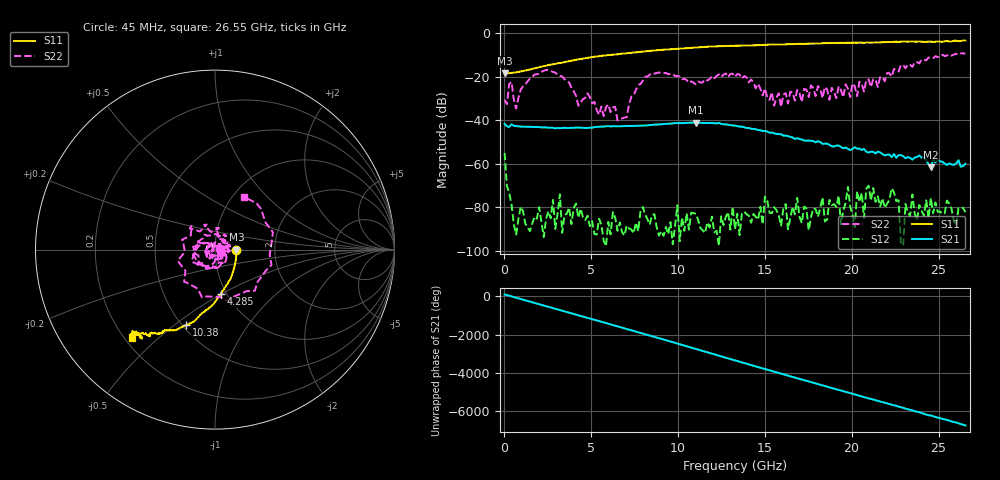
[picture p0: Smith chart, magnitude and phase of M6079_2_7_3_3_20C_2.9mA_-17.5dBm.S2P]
!  2-Port S-parameters saved by WinCal
! VAR MeasName=S-Parameters (CALIBRATED_DATA) read from VNA (C)
! VAR MeasDate=10/5/2015 6:42:17 PM
! VAR NAME=M6079_2_7_3_3_20C_2.9mA_-17.5dBm
! VAR FILENAME=M6079_2_7_3_3_20C_2.9mA_-17.5dBm.S2P
! VAR DATE=10/5/2015 6:42:17 PM
! VAR PHYS_PORTS=2,1
! VAR ObjTypeName=DATASET
! VAR IndexType=Frequency
# Hz S RI R 50
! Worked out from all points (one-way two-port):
!   201 points, 45 MHz to 26.55 GHz, reference 50 ohm
!   highest |S21| = -41.03 dB at 11.04 GHz (marker M1); lowest = -61.5 dB at 24.56 GHz (marker M2)
!   lowest |S11| = -18.5 dB at 45 MHz (marker M3), VSWR 1.27, Z = 63.5 - j0.0403 ohm
!   |S11| at or under -10 dB: start of sweep to 6.096 GHz
!   |S22| runs from -40.0 to -9.2 dB; largest |S21 - S12| = 0.0089
!   S11 on the Smith chart (normalised r, x): 45 MHz: 1.27, -0.00; 4.285 GHz: 0.94, -0.50; 10.38 GHz: 0.53, -0.55; 26.55 GHz: 0.23, -0.41
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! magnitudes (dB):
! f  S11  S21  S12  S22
! 45 MHz  -18.5  -41.6  -55.0  -30.6
! 177.5 MHz  -18.4  -42.7  -70.2  -32.6
! 442.5 MHz  -18.3  -41.9  -78.7  -22.4
! 575 MHz  -18.1  -42.5  -87.8  -30.6
! 2.562 GHz  -14.6  -43.4  -81.8  -16.8
! 4.285 GHz  -12.0  -43.3  -84.7  -33.3
! 4.55 GHz  -11.7  -43.5  -84.4  -30.3
! 7.067 GHz  -9.2  -42.6  -88.3  -38.6
! 7.73 GHz  -8.6  -42.5  -90.9  -23.8
! 8.922 GHz  -7.8  -41.9  -93.0  -18.0
! 10.38 GHz  -7.0  -41.2  -90.7  -21.0
! 11.04 GHz  -6.6  -41.0  -82.9  -23.5
! 13.29 GHz  -5.8  -42.4  -90.0  -20.1
! 15.95 GHz  -5.1  -46.4  -88.4  -33.9
! 17.8 GHz  -4.8  -49.5  -80.3  -25.3
! 19.52 GHz  -4.4  -52.9  -81.4  -29.4
! 19.79 GHz  -4.4  -53.1  -70.6  -25.4
! 20.05 GHz  -4.4  -53.1  -83.5  -23.1
! 20.98 GHz  -4.3  -54.8  -70.0  -21.2
! 22.17 GHz  -4.1  -55.7  -76.6  -18.4
! 24.56 GHz  -3.9  -61.5  -75.6  -11.5
! 26.55 GHz  -3.4  -60.0  -82.2  -9.5
